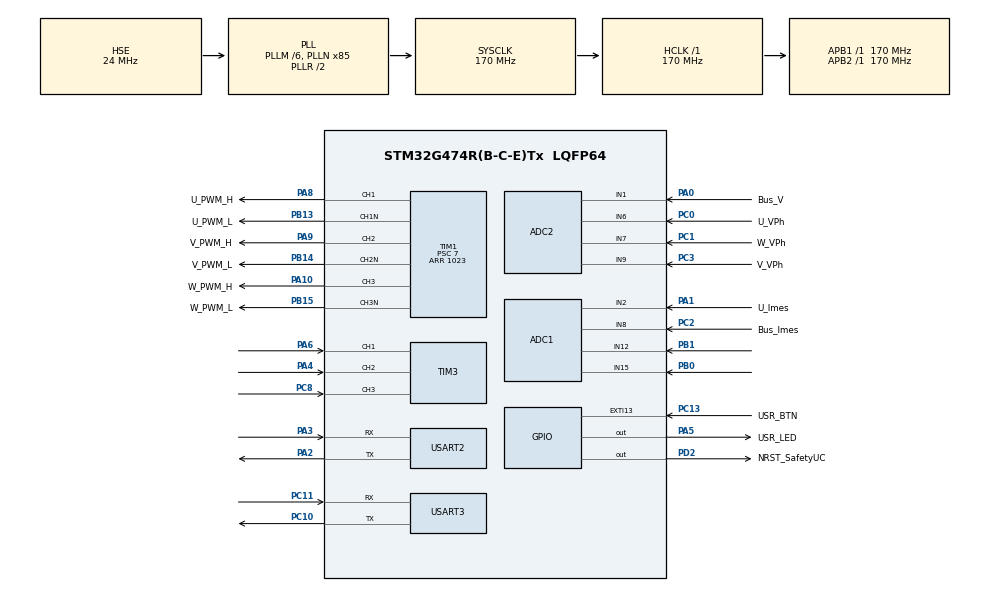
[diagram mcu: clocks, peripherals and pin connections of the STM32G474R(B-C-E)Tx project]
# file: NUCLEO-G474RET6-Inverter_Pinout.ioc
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ADC1.Channel-0\#ChannelRegularConversion=ADC_CHANNEL_8
ADC1.NbrOfConversionFlag=1
ADC1.OffsetNumber-0\#ChannelRegularConversion=ADC_OFFSET_NONE
ADC1.Rank-0\#ChannelRegularConversion=1
ADC1.SamplingTime-0\#ChannelRegularConversion=ADC_SAMPLETIME_2CYCLES_5
ADC1.master=1
ADC2.Channel-0\#ChannelRegularConversion=ADC_CHANNEL_6
ADC2.NbrOfConversionFlag=1
ADC2.OffsetNumber-0\#ChannelRegularConversion=ADC_OFFSET_NONE
ADC2.Rank-0\#ChannelRegularConversion=1
ADC2.SamplingTime-0\#ChannelRegularConversion=ADC_SAMPLETIME_2CYCLES_5
Mcu.Family=STM32G4
Mcu.Name=STM32G474R(B-C-E)Tx
Mcu.Package=LQFP64
NVIC.EXTI15_10_IRQn=true\:0\:0\:false\:false\:true\:true\:true\:true
NVIC.PriorityGroup=NVIC_PRIORITYGROUP_4
NVIC.TIM1_BRK_TIM15_IRQn=true\:0\:0\:false\:false\:true\:true\:true\:true
NVIC.TIM1_CC_IRQn=true\:0\:0\:false\:false\:true\:true\:true\:true
NVIC.TIM1_TRG_COM_TIM17_IRQn=true\:0\:0\:false\:false\:true\:true\:true\:true
NVIC.TIM1_UP_TIM16_IRQn=true\:0\:0\:false\:false\:true\:true\:true\:true
NVIC.TIM6_DAC_IRQn=true\:15\:0\:false\:false\:true\:false\:true\:true
NVIC.TimeBase=TIM6_DAC_IRQn
NVIC.TimeBaseIP=TIM6
NVIC.USART2_IRQn=true\:0\:0\:false\:false\:true\:true\:true\:true
PA0.GPIO_Label=Bus_V
PA0.Mode=IN1-Single-Ended
PA0.Signal=ADC2_IN1
PA1.GPIO_Label=U_Imes
PA1.Mode=IN2-Single-Ended
PA1.Signal=ADC1_IN2
PA10.GPIO_Label=W_PWM_H
PA10.Signal=S_TIM1_CH3
PA13.GPIO_Label=T_SWDIO
PA13.Mode=Trace_Asynchronous_SW
PA13.Signal=SYS_JTMS-SWDIO
PA14.GPIO_Label=T_SWCLK
PA14.Mode=Trace_Asynchronous_SW
PA14.Signal=SYS_JTCK-SWCLK
PA2.Mode=Asynchronous
PA2.Signal=USART2_TX
PA3.Mode=Asynchronous
PA3.Signal=USART2_RX
PA4.Signal=S_TIM3_CH2
PA5.GPIO_Label=USR_LED
PA5.Signal=GPIO_Output
PA6.Signal=S_TIM3_CH1
PA8.GPIO_Label=U_PWM_H
PA8.Signal=S_TIM1_CH1
PA9.GPIO_Label=V_PWM_H
PA9.Signal=S_TIM1_CH2
PB0.Mode=IN15-Single-Ended
PB0.Signal=ADC1_IN15
PB1.Mode=IN12-Single-Ended
PB1.Signal=ADC1_IN12
PB13.GPIO_Label=U_PWM_L
PB13.Mode=PWM Generation1 CH1 CH1N
PB13.Signal=TIM1_CH1N
PB14.GPIO_Label=V_PWM_L
PB14.Mode=PWM Generation2 CH2 CH2N
PB14.Signal=TIM1_CH2N
PB15.GPIO_Label=W_PWM_L
PB15.Mode=PWM Generation3 CH3 CH3N
PB15.Signal=TIM1_CH3N
PB3.GPIO_Label=T_SWO
PB3.Mode=Trace_Asynchronous_SW
PB3.Signal=SYS_JTDO-SWO
PC0.GPIO_Label=U_VPh
PC0.Mode=IN6-Single-Ended
PC0.Signal=ADC2_IN6
PC1.GPIO_Label=W_VPh
PC1.Mode=IN7-Single-Ended
PC1.Signal=ADC2_IN7
PC10.Mode=Asynchronous
PC10.Signal=USART3_TX
PC11.Mode=Asynchronous
PC11.Signal=USART3_RX
PC13.GPIO_Label=USR_BTN
PC13.Signal=GPXTI13
PC14-OSC32_IN.Mode=LSE-External-Oscillator
PC14-OSC32_IN.Signal=RCC_OSC32_IN
PC15-OSC32_OUT.Mode=LSE-External-Oscillator
PC15-OSC32_OUT.Signal=RCC_OSC32_OUT
PC2.GPIO_Label=Bus_Imes
PC2.Mode=IN8-Single-Ended
PC2.Signal=ADC1_IN8
PC3.GPIO_Label=V_VPh
PC3.Mode=IN9-Single-Ended
PC3.Signal=ADC2_IN9
PC8.Signal=S_TIM3_CH3
PD2.GPIO_Label=NRST_SafetyUC
PD2.Signal=GPIO_Output
PF0-OSC_IN.Mode=HSE-External-Oscillator
PF0-OSC_IN.Signal=RCC_OSC_IN
PF1-OSC_OUT.Mode=HSE-External-Oscillator
PF1-OSC_OUT.Signal=RCC_OSC_OUT
ProjectManager.HeapSize=0x200
ProjectManager.StackSize=0x400
ProjectManager.TargetToolchain=STM32CubeIDE
RCC.ADC12Freq_Value=170000000
RCC.ADC345Freq_Value=170000000
RCC.AHBFreq_Value=170000000
RCC.APB1Freq_Value=170000000
RCC.APB1TimFreq_Value=170000000
RCC.APB2Freq_Value=170000000
RCC.APB2TimFreq_Value=170000000
RCC.CortexFreq_Value=170000000
RCC.EXTERNAL_CLOCK_VALUE=12288000
RCC.HCLKFreq_Value=170000000
RCC.HSE_VALUE=24000000
RCC.HSI48_VALUE=48000000
RCC.HSI_VALUE=16000000
RCC.PLLM=RCC_PLLM_DIV6
RCC.PLLN=85
RCC.PLLSourceVirtual=RCC_PLLSOURCE_HSE
RCC.RTCClockSelection=RCC_RTCCLKSOURCE_LSE
RCC.SYSCLKFreq_VALUE=170000000
RCC.SYSCLKSource=RCC_SYSCLKSOURCE_PLLCLK
RCC.USBFreq_Value=170000000
RCC.VCOOutputFreq_Value=340000000
SH.S_TIM1_CH1.0=TIM1_CH1,PWM Generation1 CH1 CH1N
SH.S_TIM1_CH2.0=TIM1_CH2,PWM Generation2 CH2 CH2N
SH.S_TIM1_CH3.0=TIM1_CH3,PWM Generation3 CH3 CH3N
SH.S_TIM3_CH1.0=TIM3_CH1,Xored_Inputs_Hall_Sensor_Interface
SH.S_TIM3_CH2.0=TIM3_CH2,Xored_Inputs_Hall_Sensor_Interface
SH.S_TIM3_CH3.0=TIM3_CH3,Xored_Inputs_Hall_Sensor_Interface
TIM1.Channel-PWM\ Generation1\ CH1\ CH1N=TIM_CHANNEL_1
TIM1.Channel-PWM\ Generation2\ CH2\ CH2N=TIM_CHANNEL_2
TIM1.Channel-PWM\ Generation3\ CH3\ CH3N=TIM_CHANNEL_3
TIM1.CounterMode=TIM_COUNTERMODE_CENTERALIGNED1
TIM1.DeadTime=44
TIM1.DeadTimePreload=ENABLE
TIM1.OCMode_PWM-PWM\ Generation2\ CH2\ CH2N=TIM_OCMODE_PWM1
TIM1.PeriodNoDither=1023
TIM1.Prescaler=7
TIM1.PulseNoDither_1=410
TIM1.PulseNoDither_2=614
USART2.VirtualMode-Asynchronous=VM_ASYNC
USART3.VirtualMode-Asynchronous=VM_ASYNC
VP_SYS_VS_DBSignals.Mode=DisableDeadBatterySignals
VP_SYS_VS_tim6.Mode=TIM6
VP_TIM1_VS_ClockSourceINT.Mode=Internal
board=NUCLEO-G474RE

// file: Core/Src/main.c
/* USER CODE BEGIN Header */
/**
  ******************************************************************************
  * @file           : main.c
  * @brief          : Main program body
  ******************************************************************************
  * @attention
  *
  * Copyright (c) 2023 STMicroelectronics.
  * All rights reserved.
  *
  * This software is licensed under terms that can be found in the LICENSE file
  * in the root directory of this software component.
  * If no LICENSE file comes with this software, it is provided AS-IS.
  *
  ******************************************************************************
  */
/* USER CODE END Header */
#include "main.h"
#include "adc.h"
#include "tim.h"
#include "usart.h"
#include "gpio.h"

/* USER CODE BEGIN Includes */
#include "string.h"
#include "stdbool.h"
#include "processCommand.h"
/* USER CODE END Includes */

/* USER CODE BEGIN PD */
#define ENTER 0x0D
/* USER CODE END PD */

/* USER CODE BEGIN PV */
char uartRxBuffer[1];
uint8_t it_uart2 = 0;
char command[32];
uint8_t idx=0;
const uint8_t started[]="Bienvenue dans le Shell de controle de la MCC \r\n";
/* USER CODE END PV */

void SystemClock_Config(void);

int main(void)
{

  /* MCU Configuration--------------------------------------------------------*/

  /* Reset of all peripherals, Initializes the Flash interface and the Systick. */
  HAL_Init();

  /* Configure the system clock */
  SystemClock_Config();

  /* Initialize all configured peripherals */
  MX_GPIO_Init();
  MX_ADC2_Init();
  MX_ADC1_Init();
  MX_TIM1_Init();
  MX_TIM3_Init();
  MX_USART2_UART_Init();
  MX_USART3_UART_Init();
  /* USER CODE BEGIN 2 */
  HAL_TIM_PWM_Start(&htim1, TIM_CHANNEL_1);
  HAL_TIM_PWM_Start(&htim1, TIM_CHANNEL_2);
  HAL_TIMEx_PWMN_Start(&htim1, TIM_CHANNEL_1);
  HAL_TIMEx_PWMN_Start(&htim1, TIM_CHANNEL_2);
  HAL_UART_Transmit(&huart2, started, strlen(started), HAL_MAX_DELAY);
  HAL_UART_Receive_IT(&huart2, uartRxBuffer, 1);

  /* USER CODE END 2 */

  /* Infinite loop */
  /* USER CODE BEGIN WHILE */
  while (1)
  {
	  if(it_uart2){
		  if(uartRxBuffer[0]==ENTER){
			  HAL_UART_Transmit(&huart2, "\r\n", 2, HAL_MAX_DELAY);
			  processCommand(command); // Traitez la commande
			  memset(command, 0, sizeof(command)); // Réinitialisez le tableau
			  idx=0;
		  }
		  else{
			  command[idx++]=uartRxBuffer[0];
		  }
		  it_uart2 = 0;
	  }

    /* USER CODE END WHILE */

  }
}

void SystemClock_Config(void)
{
  RCC_OscInitTypeDef RCC_OscInitStruct = {0};
  RCC_ClkInitTypeDef RCC_ClkInitStruct = {0};

  /** Configure the main internal regulator output voltage
  */
  HAL_PWREx_ControlVoltageScaling(PWR_REGULATOR_VOLTAGE_SCALE1_BOOST);

  /** Initializes the RCC Oscillators according to the specified parameters
  * in the RCC_OscInitTypeDef structure.
  */
  RCC_OscInitStruct.OscillatorType = RCC_OSCILLATORTYPE_HSE;
  RCC_OscInitStruct.HSEState = RCC_HSE_ON;
  RCC_OscInitStruct.PLL.PLLState = RCC_PLL_ON;
  RCC_OscInitStruct.PLL.PLLSource = RCC_PLLSOURCE_HSE;
  RCC_OscInitStruct.PLL.PLLM = RCC_PLLM_DIV6;
  RCC_OscInitStruct.PLL.PLLN = 85;
  RCC_OscInitStruct.PLL.PLLP = RCC_PLLP_DIV2;
  RCC_OscInitStruct.PLL.PLLQ = RCC_PLLQ_DIV2;
  RCC_OscInitStruct.PLL.PLLR = RCC_PLLR_DIV2;
  if (HAL_RCC_OscConfig(&RCC_OscInitStruct) != HAL_OK)
  {
    Error_Handler();
  }

  /** Initializes the CPU, AHB and APB buses clocks
  */
  RCC_ClkInitStruct.ClockType = RCC_CLOCKTYPE_HCLK|RCC_CLOCKTYPE_SYSCLK
                              |RCC_CLOCKTYPE_PCLK1|RCC_CLOCKTYPE_PCLK2;
  RCC_ClkInitStruct.SYSCLKSource = RCC_SYSCLKSOURCE_PLLCLK;
  RCC_ClkInitStruct.AHBCLKDivider = RCC_SYSCLK_DIV1;
  RCC_ClkInitStruct.APB1CLKDivider = RCC_HCLK_DIV1;
  RCC_ClkInitStruct.APB2CLKDivider = RCC_HCLK_DIV1;

  if (HAL_RCC_ClockConfig(&RCC_ClkInitStruct, FLASH_LATENCY_4) != HAL_OK)
  {
    Error_Handler();
  }
}

/* USER CODE BEGIN 4 */
void HAL_UART_RxCpltCallback(UART_HandleTypeDef *huart)
{
	HAL_UART_Transmit(&huart2, uartRxBuffer, 1, 100);
	HAL_UART_Receive_IT(&huart2, uartRxBuffer, 1);
	it_uart2 = 1;
}
/* USER CODE END 4 */

void HAL_TIM_PeriodElapsedCallback(TIM_HandleTypeDef *htim)
{
  if (htim->Instance == TIM6) {
    HAL_IncTick();
  }
}

void Error_Handler(void)
{
  __disable_irq();
  while (1)
  {
  }
}
